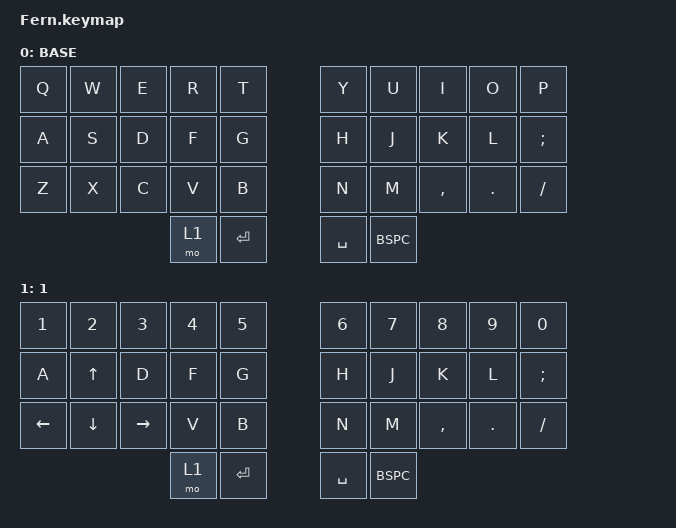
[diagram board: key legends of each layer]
/*
 * Copyright (c) 2022 The ZMK Contributors
 *
 * SPDX-License-Identifier: MIT
 */

#include <behaviors.dtsi>
#include <dt-bindings/zmk/keys.h>
#include <dt-bindings/zmk/bt.h>
#include <dt-bindings/zmk/outputs.h>

#define BASE 0
#define NAVI 1

/ {
    keymap {
        compatible = "zmk,keymap";

        // ▄▄▄▄▄▄▄▄▄▄▄▄▄▄▄▄▄▄▄▄▄▄▄▄▄▄▄▄▄▄▄▄▄▄▄▄▄▄▄▄▄▄▄▄▄▄▄▄▄▄▄▄▄▄▄▄▄▄▄▄▄▄▄▄▄▄▄▄▄▄▄▄▄▄▄▄▄▄▄▄▄▄▄▄▄▄▄▄▄▄▄▄▄▄▄▄▄▄▄▄▄▄▄▄▄▄▄▄▄▄▄▄▄▄▄▄▄▄▄▄▄▄▄▄▄▄▄▄▄▄▄▄▄▄▄▄▄▄▄▄▄▄▄▄▄▄▄▄▄

        base_layer {
            // ┏━━━━━━━━━━━━━━━━━━━━━━━━━━━━━━━━━━━━━━━┓

            label = "BASE";

            // ┗━━━━━━━━━━━━━━━━━━━━━━━━━━━━━━━━━━━━━━━┛
            // ┏━━━━━━━━━━━┳━━━━━━━━━━━┳━━━━━━━━━━━┳━━━━━━━━━━━┳━━━━━━━━━━━┓      ┏━━━━━━━━━━━┳━━━━━━━━━━━┳━━━━━━━━━━━┳━━━━━━━━━━━┳━━━━━━━━━━━┓
            // ┃     Q     ┃     W     ┃     E     ┃     R     ┃     T     ┃      ┃     Y     ┃     U     ┃     I     ┃     O     ┃     P     ┃
            // ┣━━━━━━━━━━━╋━━━━━━━━━━━╋━━━━━━━━━━━╋━━━━━━━━━━━╋━━━━━━━━━━━┫      ┣━━━━━━━━━━━╋━━━━━━━━━━━╋━━━━━━━━━━━╋━━━━━━━━━━━╋━━━━━━━━━━━┫
            // ┃     A     ┃     S     ┃     D     ┃     F     ┃     G     ┃      ┃     H     ┃     J     ┃     K     ┃     L     ┃     :     ┃
            // ┣━━━━━━━━━━━╋━━━━━━━━━━━╋━━━━━━━━━━━╋━━━━━━━━━━━╋━━━━━━━━━━━┫      ┣━━━━━━━━━━━╋━━━━━━━━━━━╋━━━━━━━━━━━╋━━━━━━━━━━━╋━━━━━━━━━━━┫
            // ┃     Z     ┃     X     ┃     C     ┃     V     ┃     B     ┃      ┃     N     ┃     M     ┃     <     ┃     >     ┃     ?     ┃
            // ┗━━━━━━━━━━━┻━━━━━━━━━━━┻━━━━━━━━━━━╋━━━━━━━━━━━╋━━━━━━━━━━━┫      ┣━━━━━━━━━━━╋━━━━━━━━━━━╋━━━━━━━━━━━┻━━━━━━━━━━━┻━━━━━━━━━━━┛
            //                                     ┃    &mo    ┃   ENTER   ┃      ┃   SPACE   ┃    BSPC   ┃
            //                                     ┗━━━━━━━━━━━┻━━━━━━━━━━━┛      ┗━━━━━━━━━━━┻━━━━━━━━━━━┛

            bindings = <
&kp Q      &kp W      &kp E      &kp R      &kp T      &kp Y      &kp U      &kp I      &kp O      &kp P
&kp A      &kp S      &kp D      &kp F      &kp G      &kp H      &kp J      &kp K      &kp L      &kp SEMI
&kp Z      &kp X      &kp C      &kp V      &kp B      &kp N      &kp M      &kp COMMA  &kp PERIOD &kp SLASH
                                 &mo 1      &kp ENTER  &kp SPACE  &BSPC  
            >;
        };

        // ▄▄▄▄▄▄▄▄▄▄▄▄▄▄▄▄▄▄▄▄▄▄▄▄▄▄▄▄▄▄▄▄▄▄▄▄▄▄▄▄▄▄▄▄▄▄▄▄▄▄▄▄▄▄▄▄▄▄▄▄▄▄▄▄▄▄▄▄▄▄▄▄▄▄▄▄▄▄▄▄▄▄▄▄▄▄▄▄▄▄▄▄▄▄▄▄▄▄▄▄▄▄▄▄▄▄▄▄▄▄▄▄▄▄▄▄▄▄▄▄▄▄▄▄▄▄▄▄▄▄▄▄▄▄▄▄▄▄▄▄▄▄▄▄▄▄▄▄▄

        nav_layer {
            // ┏━━━━━━━━━━━━━━━━━━━━━━━━━━━━━━━━━━━━━━━┓

            label = "1";

            // ┗━━━━━━━━━━━━━━━━━━━━━━━━━━━━━━━━━━━━━━━┛
            // ┏━━━━━━━━━━━┳━━━━━━━━━━━┳━━━━━━━━━━━┳━━━━━━━━━━━┳━━━━━━━━━━━┓      ┏━━━━━━━━━━━┳━━━━━━━━━━━┳━━━━━━━━━━━┳━━━━━━━━━━━┳━━━━━━━━━━━┓
            // ┃     N1    ┃     N2    ┃     N3    ┃     N4    ┃     N5    ┃      ┃     N6    ┃     N7    ┃     N8    ┃     N9    ┃     N0    ┃
            // ┣━━━━━━━━━━━╋━━━━━━━━━━━╋━━━━━━━━━━━╋━━━━━━━━━━━╋━━━━━━━━━━━┫      ┣━━━━━━━━━━━╋━━━━━━━━━━━╋━━━━━━━━━━━╋━━━━━━━━━━━╋━━━━━━━━━━━┫
            // ┃     A     ┃     UP    ┃     D     ┃     F     ┃     G     ┃      ┃     H     ┃     J     ┃     K     ┃     L     ┃     :     ┃
            // ┣━━━━━━━━━━━╋━━━━━━━━━━━╋━━━━━━━━━━━╋━━━━━━━━━━━╋━━━━━━━━━━━┫      ┣━━━━━━━━━━━╋━━━━━━━━━━━╋━━━━━━━━━━━╋━━━━━━━━━━━╋━━━━━━━━━━━┫
            // ┃    LEFT   ┃    DOWN   ┃   RIGHT   ┃     V     ┃     B     ┃      ┃     N     ┃     M     ┃     <     ┃     >     ┃     ?     ┃
            // ┗━━━━━━━━━━━┻━━━━━━━━━━━┻━━━━━━━━━━━╋━━━━━━━━━━━╋━━━━━━━━━━━┫      ┣━━━━━━━━━━━╋━━━━━━━━━━━╋━━━━━━━━━━━┻━━━━━━━━━━━┻━━━━━━━━━━━┛
            //                                     ┃   SPACE   ┃   NAVI    ┃      ┃   SPACE   ┃   LAYER   ┃
            //                                     ┗━━━━━━━━━━━┻━━━━━━━━━━━┛      ┗━━━━━━━━━━━┻━━━━━━━━━━━┛

            bindings = <
&kp N1     &kp N2     &kp N3     &kp N4     &kp N5     &kp N6     &kp N7     &kp N8     &kp N9     &kp N0
&kp A      &kp UP     &kp D      &kp F      &kp G      &kp H      &kp J      &kp K      &kp L      &kp SEMI
&kp LEFT   &kp DOWN   &kp RIGHT  &kp V      &kp B      &kp N      &kp M      &kp COMMA  &kp PERIOD &kp SLASH
                                 &mo 1      &kp ENTER  &kp SPACE  &BSPC   
            >;
        };
    };
};
